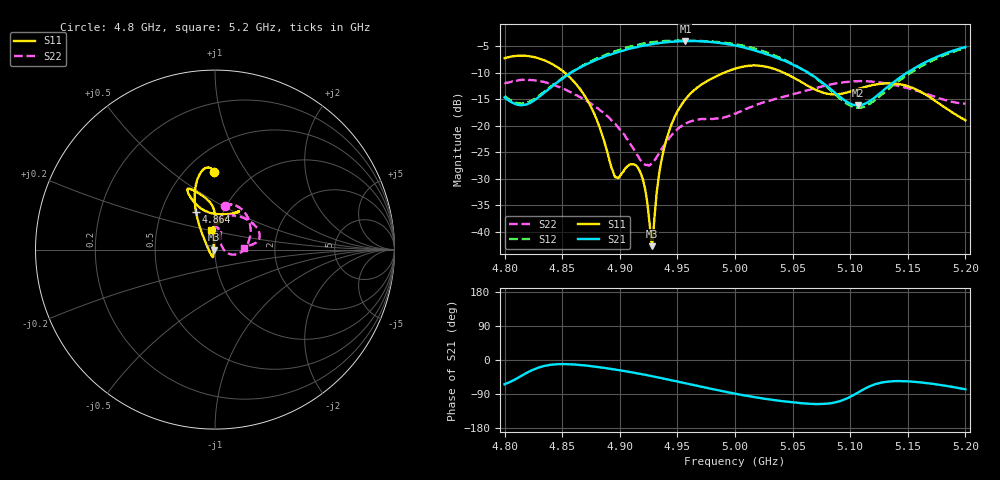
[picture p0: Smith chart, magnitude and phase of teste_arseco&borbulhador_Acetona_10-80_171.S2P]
! Network Analyzer HP8722D
! Hewlett-Packard
! Data name: Linha & Wilkinson
! Saver's name: Rodrigo Anjos
! Comments: Teste da utilização de aquisição
! continua pelo VNA HP8722D
! Time and date: 25/4/2025 16:41
!  Frequency  S11  S21  S12  S22
# HZ  S  MA R 50
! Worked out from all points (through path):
!   401 points, 4.8 GHz to 5.2 GHz, reference 50 ohm
!   highest |S21| = -3.96 dB at 4.957 GHz (marker M1); lowest = -16.1 dB at 5.107 GHz (marker M2)
!   lowest |S11| = -42.7 dB at 4.928 GHz (marker M3), VSWR 1.01, Z = 49.3 + j0.0517 ohm
!   |S11| at or under -10 dB: 4.852 GHz to 4.99 GHz (138 MHz wide, 2.8 % of centre); 5.042 GHz to end of sweep
!   |S22| runs from -27.5 to -11.3 dB; largest |S21 - S12| = 1.2
!   S11 on the Smith chart (normalised r, x): 4.8 GHz: 0.67, +0.72; 4.864 GHz: 0.75, +0.33; 5.2 GHz: 0.94, +0.21
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4.8e9  0.4352 90.9  0.1855 -63.9  0.1912 69.5  0.249 77.5
4.82e9  0.4544 97.2  0.1608 -32.5  0.1668 98.4  0.2724 61.7
4.843e9  0.3736 106.5  0.2448 -11.8  0.2485 118.8  0.2424 37.0
4.864e9  0.234 116.9  0.3483 -12.8  0.3523 121.1  0.19 12.3
4.867e9  0.2109 118.7  0.3627 -13.7  0.3667 120.8  0.1831 8.8
4.88e9  0.114 128.7  0.4214 -18.3  0.4322 118.5  0.1483 -5.0
4.896e9  0.0329 -169.5  0.4878 -25.3  0.5061 113.5  0.1048 -15.5
4.91e9  0.04339 -107.8  0.5391 -32.4  0.5611 107.2  0.06496 -13.3
4.917e9  0.03806 -104.7  0.5607 -36.3  0.5872 103.6  0.0491 -0.8
4.922e9  0.02524 -108.6  0.5745 -38.9  0.602 100.9  0.04295 16.5
4.926e9  0.01157 -134.6  0.5851 -41.6  0.6123 98.4  0.04241 32.5
4.928e9  0.007325 175.9  0.5901 -42.7  0.6166 97.1  0.04433 40.5
4.934e9  0.03428 100.1  0.603 -46.7  0.6273 93.4  0.05523 57.8
4.943e9  0.09102 91.2  0.6192 -52.4  0.6351 87.6  0.07715 68.4
4.957e9  0.1786 89.6  0.6336 -61.4  0.6389 78.7  0.1049 71.1
5e9  0.3463 109.3  0.5733 -88.9  0.5918 50.9  0.1302 88.4
5.03e9  0.3554 115.3  0.4655 -104.0  0.4798 33.9  0.1723 85.5
5.067e9  0.2267 105.6  0.3006 -115.9  0.2981 23.6  0.2219 57.3
5.107e9  0.2228 64.6  0.1558 -85.5  0.1478 57.7  0.2637 24.4
5.134e9  0.2518 57.7  0.2404 -56.6  0.2257 88.7  0.2484 12.5
5.17e9  0.1836 71.0  0.4219 -62.3  0.4057 84.5  0.194 6.8
5.2e9  0.1128 100.8  0.5545 -77.3  0.5439 70.3  0.1618 3.8
